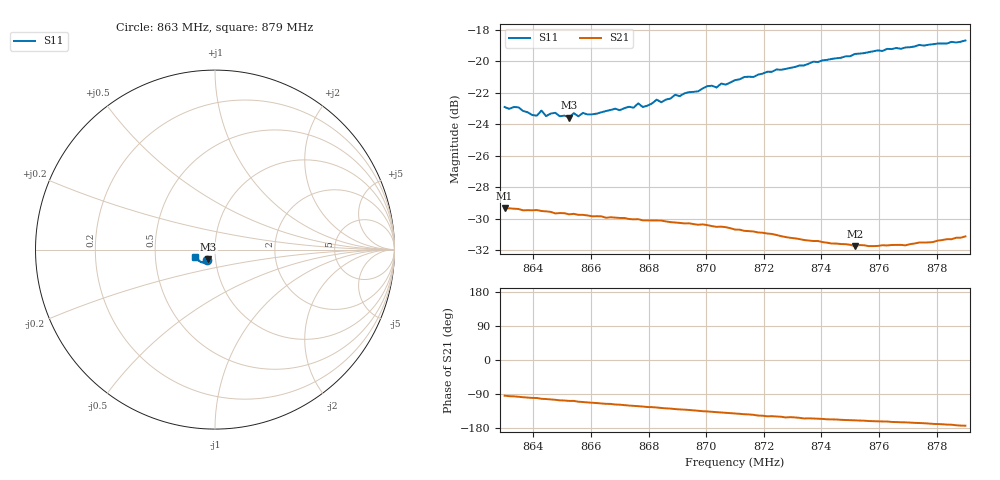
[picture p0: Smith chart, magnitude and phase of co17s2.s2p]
# HZ S RI R 50
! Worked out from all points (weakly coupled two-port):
!   101 points, 863 MHz to 879 MHz, reference 50 ohm
!   highest |S21| = -29.33 dB at 863 MHz (marker M1); lowest = -31.7 dB at 875.16 MHz (marker M2)
!   lowest |S11| = -23.6 dB at 865.24 MHz (marker M3), VSWR 1.14, Z = 46.1 - j5.08 ohm
!   |S11| at or under -10 dB: start of sweep to end of sweep
!   S12 and S22 are empty: the file has one direction only
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8.63e8  -0.0452 -0.0554  -0.00247 -0.0341  0 0  0 0
8.6348e8  -0.0442 -0.056  -0.00413 -0.0337  0 0  0 0
8.6396e8  -0.0411 -0.0535  -0.00587 -0.0331  0 0  0 0
8.6428e8  -0.0413 -0.0561  -0.0072 -0.0327  0 0  0 0
8.6444e8  -0.0394 -0.0541  -0.00751 -0.0325  0 0  0 0
8.6476e8  -0.0399 -0.0558  -0.00854 -0.0318  0 0  0 0
8.6524e8  -0.0372 -0.0548  -0.0101 -0.0311  0 0  0 0
8.654e8  -0.045 -0.0514  -0.0101 -0.0312  0 0  0 0
8.6572e8  -0.0362 -0.0582  -0.0116 -0.0304  0 0  0 0
8.67e8  -0.037 -0.0593  -0.0149 -0.0281  0 0  0 0
8.6764e8  -0.0373 -0.0633  -0.0166 -0.0268  0 0  0 0
8.678e8  -0.036 -0.0617  -0.017 -0.0263  0 0  0 0
8.6828e8  -0.0378 -0.0653  -0.0181 -0.0255  0 0  0 0
8.6844e8  -0.0374 -0.0639  -0.0186 -0.0251  0 0  0 0
8.6892e8  -0.0396 -0.0674  -0.0196 -0.0237  0 0  0 0
8.7004e8  -0.0445 -0.0704  -0.0216 -0.0211  0 0  0 0
8.7036e8  -0.0442 -0.0696  -0.022 -0.0201  0 0  0 0
8.71e8  -0.0498 -0.0713  -0.0228 -0.0183  0 0  0 0
8.7372e8  -0.0679 -0.0728  -0.0243 -0.0116  0 0  0 0
8.7516e8  -0.0809 -0.0675  -0.0242 -0.00919  0 0  0 0
8.7644e8  -0.091 -0.0603  -0.025 -0.00745  0 0  0 0
8.79e8  -0.1094 -0.0393  -0.0276 -0.0032  0 0  0 0
